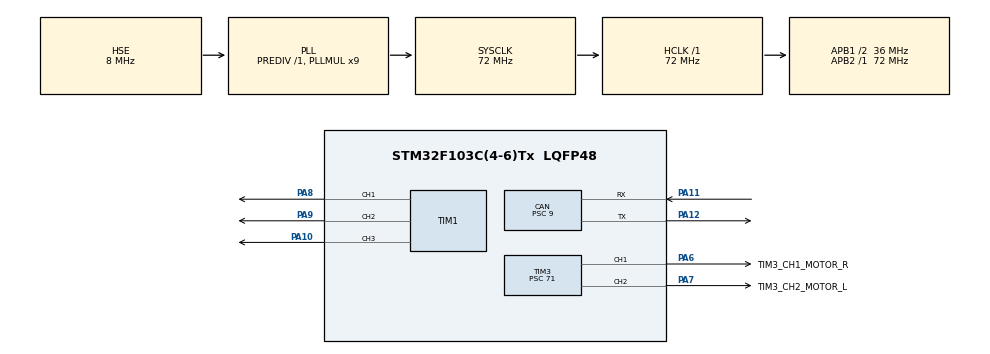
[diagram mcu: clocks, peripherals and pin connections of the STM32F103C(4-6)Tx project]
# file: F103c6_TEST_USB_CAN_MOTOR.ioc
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CAN.BS1=CAN_BS1_2TQ
CAN.CalculateBaudRate=1000000
CAN.CalculateTimeBit=1000
CAN.CalculateTimeQuantum=250.0
CAN.Prescaler=9
Mcu.Family=STM32F1
Mcu.Name=STM32F103C(4-6)Tx
Mcu.Package=LQFP48
NVIC.CAN1_RX1_IRQn=true\:0\:0\:false\:false\:true\:true\:true\:true
NVIC.PriorityGroup=NVIC_PRIORITYGROUP_4
NVIC.TIM2_IRQn=true\:0\:0\:false\:false\:true\:true\:true\:true
PA10.Signal=S_TIM1_CH3
PA11.Mode=CAN_Activate
PA11.Signal=CAN_RX
PA12.Mode=CAN_Activate
PA12.Signal=CAN_TX
PA13.Mode=Serial_Wire
PA13.Signal=SYS_JTMS-SWDIO
PA14.Mode=Serial_Wire
PA14.Signal=SYS_JTCK-SWCLK
PA6.GPIO_Label=TIM3_CH1_MOTOR_R
PA6.Signal=S_TIM3_CH1
PA7.GPIO_Label=TIM3_CH2_MOTOR_L
PA7.Signal=S_TIM3_CH2
PA8.Signal=S_TIM1_CH1
PA9.Signal=S_TIM1_CH2
PD0-OSC_IN.Mode=HSE-External-Oscillator
PD0-OSC_IN.Signal=RCC_OSC_IN
PD1-OSC_OUT.Mode=HSE-External-Oscillator
PD1-OSC_OUT.Signal=RCC_OSC_OUT
ProjectManager.HeapSize=0x200
ProjectManager.StackSize=0x400
ProjectManager.TargetToolchain=STM32CubeIDE
RCC.AHBFreq_Value=72000000
RCC.APB1CLKDivider=RCC_HCLK_DIV2
RCC.APB1Freq_Value=36000000
RCC.APB1TimFreq_Value=72000000
RCC.APB2Freq_Value=72000000
RCC.APB2TimFreq_Value=72000000
RCC.HCLKFreq_Value=72000000
RCC.PLLMUL=RCC_PLL_MUL9
RCC.PLLSourceVirtual=RCC_PLLSOURCE_HSE
RCC.SYSCLKFreq_VALUE=72000000
RCC.SYSCLKSource=RCC_SYSCLKSOURCE_PLLCLK
RCC.USBFreq_Value=72000000
SH.S_TIM1_CH1.0=TIM1_CH1,PWM Generation1 CH1
SH.S_TIM1_CH2.0=TIM1_CH2,PWM Generation2 CH2
SH.S_TIM1_CH3.0=TIM1_CH3,PWM Generation3 CH3
SH.S_TIM3_CH1.0=TIM3_CH1,PWM Generation1 CH1
SH.S_TIM3_CH2.0=TIM3_CH2,PWM Generation2 CH2
TIM1.AutoReloadPreload=TIM_AUTORELOAD_PRELOAD_ENABLE
TIM1.Channel-PWM\ Generation1\ CH1=TIM_CHANNEL_1
TIM1.Channel-PWM\ Generation2\ CH2=TIM_CHANNEL_2
TIM1.Channel-PWM\ Generation3\ CH3=TIM_CHANNEL_3
TIM2.Period=999
TIM2.Prescaler=71
TIM3.Channel-PWM\ Generation1\ CH1=TIM_CHANNEL_1
TIM3.Channel-PWM\ Generation2\ CH2=TIM_CHANNEL_2
TIM3.Period=999
TIM3.Prescaler=71
VP_TIM2_VS_ClockSourceINT.Mode=Internal
VP_TIM3_VS_ClockSourceINT.Mode=Internal
board=custom

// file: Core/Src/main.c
/* USER CODE BEGIN Header */
/**
  ******************************************************************************
  * @file           : main.c
  * @brief          : Main program body
  ******************************************************************************
  * @attention
  *
  * <h2><center>&copy; Copyright (c) 2023 STMicroelectronics.
  * All rights reserved.</center></h2>
  *
  * This software component is licensed by ST under BSD 3-Clause license,
  * the "License"; You may not use this file except in compliance with the
  * License. You may obtain a copy of the License at:
  *                        opensource.org/licenses/BSD-3-Clause
  *
  ******************************************************************************
  */
/* USER CODE END Header */
#include "main.h"
#include "can.h"
#include "tim.h"
#include "gpio.h"

/* USER CODE BEGIN PV */

	/* CAN */

		CAN_RxHeaderTypeDef RxHeader;
		uint8_t RxData[8];
		CAN_TxHeaderTypeDef TxHeader;
		uint8_t TxData[8];
		uint32_t TxMailbox;
		uint16_t ReadValue;

		int datacheck = 0;
		float pwm_M1 = 0;
		float pwm_M2 = 0;

		float RxData1 = 0;
		float RxData2 = 0;
		float RxData3 = 0;
		float RxData4 = 0;

	/* TAGET SPEED OF RGB */

		float V1 = 0;
		float V2 = 0;
		float V3 = 0;
		float V4 = 0;

	/* TAGET SPEED OF MOTOR */

		float M1 ;
		float M2 ;
		float M3;
		float M4 ;

	/* V OUT RGB */

		uint16_t V=255;
		uint16_t V1_out = 0;
		uint16_t V2_out = 0;
		uint16_t V3_out = 0;
		uint16_t V4_out = 0;

	/* M OUT MOTOR */

		uint16_t M=255;
		uint16_t M1_out = 0;
		uint16_t M2_out = 0;
		uint16_t M3_out = 0;
		uint16_t M4_out = 0;

		uint8_t flag = 0;
		uint8_t cntt;

/* USER CODE END PV */

void SystemClock_Config(void);
/* USER CODE BEGIN PFP */

/* MAP */

	float map(float Input, float Min_Input, float Max_Input, float Min_Output, float Max_Output) {
		return (float) ((Input - Min_Input) * (Max_Output - Min_Output) / (Max_Input - Min_Input) + Min_Output);
	}

/* STM32 INTERUPP RECEIVER FROM USB CAN */

	void HAL_CAN_RxFifo1MsgPendingCallback(CAN_HandleTypeDef *hcan) {
		HAL_CAN_GetRxMessage(hcan, CAN_RX_FIFO1, &RxHeader, RxData);
		cntt++;
		while (cntt - 100 > 0) {
			HAL_GPIO_TogglePin(GPIOC, GPIO_PIN_13);
			cntt = 0;
		}

	/* DATA RECIEVER FROM USB CAN */

		if (RxHeader.DLC == 8) {
		RxData1 = (RxData[0] << 8) | RxData[1];
		RxData2 = (RxData[2] << 8) | RxData[3];
		RxData3 = (RxData[4] << 8) | RxData[5];
		RxData4 = (RxData[6] << 8) | RxData[7];

	/* TRANFER TO SPEED */

		/* V RGB */

			V1 = RxData1;
			V2 = RxData2;
			V3 = RxData3;
			V4 = RxData4;

		/* M MOTOR */

			M1 = RxData1;
			M2 = RxData2;
			M3 = RxData3;
			M4 = RxData4;

			/* MAP TX DATA FROM 8BIT TO 16BIT (MOTOR ) */

				/* MAPPING MOTOR */

					M1_out = map(M1,0,65535,0,999);
					M2_out = map(M2,0,65535,0,999);

				/* MAPPING RGB ) */

					M3_out = map(M3,0,65535,0,65535);
					M4_out = map(M4,0,65535,0,65535);

					flag = 1;

	}
}

/* USER CODE END PFP */

int main(void)
{

  /* MCU Configuration--------------------------------------------------------*/

  /* Reset of all peripherals, Initializes the Flash interface and the Systick. */
  HAL_Init();

  /* Configure the system clock */
  SystemClock_Config();

  /* Initialize all configured peripherals */
  MX_GPIO_Init();
  MX_TIM3_Init();
  MX_TIM2_Init();
  MX_CAN_Init();
  MX_TIM1_Init();
  /* USER CODE BEGIN 2 */

  	/* CAN */

		HAL_CAN_Start(&hcan);

	/* STRUCTUR TRANSMITTER DATA */

		HAL_CAN_ActivateNotification(&hcan, CAN_IT_RX_FIFO1_MSG_PENDING);
		TxHeader.DLC = 8;
		TxHeader.IDE = CAN_ID_STD;
		TxHeader.RTR = CAN_RTR_DATA;
		TxHeader.StdId = 0x103; //0b11001010001

	/* TIMER RGB */

		HAL_TIM_Base_Start_IT(&htim2);
		HAL_TIM_PWM_Start(&htim1, TIM_CHANNEL_1);
		HAL_TIM_PWM_Start(&htim1, TIM_CHANNEL_2);
		HAL_TIM_PWM_Start(&htim1, TIM_CHANNEL_3);

	/* TIMER 3 MOTOR */

		HAL_TIM_PWM_Start(&htim3, TIM_CHANNEL_1);
		HAL_TIM_PWM_Start(&htim3, TIM_CHANNEL_2);
		HAL_TIM_PWM_Start(&htim3, TIM_CHANNEL_3);
		HAL_TIM_PWM_Start(&htim3, TIM_CHANNEL_4);

	/* MAP TX DATA FROM 8BIT TO 16BIT (RGB) */

		V1_out = map(V,0,255,0,65535);
		V2_out = map(V,0,255,0,65535);
		V3_out = map(V,0,255,0,65535);
		V4_out = map(V,0,255,0,65535);

  /* USER CODE END 2 */

  /* Infinite loop */
  while (1)
  {

  }
}

void SystemClock_Config(void)
{
  RCC_OscInitTypeDef RCC_OscInitStruct = {0};
  RCC_ClkInitTypeDef RCC_ClkInitStruct = {0};

  /** Initializes the RCC Oscillators according to the specified parameters
  * in the RCC_OscInitTypeDef structure.
  */
  RCC_OscInitStruct.OscillatorType = RCC_OSCILLATORTYPE_HSE;
  RCC_OscInitStruct.HSEState = RCC_HSE_ON;
  RCC_OscInitStruct.HSEPredivValue = RCC_HSE_PREDIV_DIV1;
  RCC_OscInitStruct.HSIState = RCC_HSI_ON;
  RCC_OscInitStruct.PLL.PLLState = RCC_PLL_ON;
  RCC_OscInitStruct.PLL.PLLSource = RCC_PLLSOURCE_HSE;
  RCC_OscInitStruct.PLL.PLLMUL = RCC_PLL_MUL9;
  if (HAL_RCC_OscConfig(&RCC_OscInitStruct) != HAL_OK)
  {
    Error_Handler();
  }
  /** Initializes the CPU, AHB and APB buses clocks
  */
  RCC_ClkInitStruct.ClockType = RCC_CLOCKTYPE_HCLK|RCC_CLOCKTYPE_SYSCLK
                              |RCC_CLOCKTYPE_PCLK1|RCC_CLOCKTYPE_PCLK2;
  RCC_ClkInitStruct.SYSCLKSource = RCC_SYSCLKSOURCE_PLLCLK;
  RCC_ClkInitStruct.AHBCLKDivider = RCC_SYSCLK_DIV1;
  RCC_ClkInitStruct.APB1CLKDivider = RCC_HCLK_DIV2;
  RCC_ClkInitStruct.APB2CLKDivider = RCC_HCLK_DIV1;

  if (HAL_RCC_ClockConfig(&RCC_ClkInitStruct, FLASH_LATENCY_2) != HAL_OK)
  {
    Error_Handler();
  }
}

/* USER CODE BEGIN 4 */

	/* MAKER TIMER INTERRUPP 1mS */

		void HAL_TIM_PeriodElapsedCallback(TIM_HandleTypeDef *htim) {
			if (htim->Instance == TIM2) {

				TIM3->CCR1 = M1_out; // PWM MOTOR
				TIM3->CCR2 = M2_out; // PWM MOTOR
				TIM1->CCR2 = M3_out; // PWM BLINK LED
				TIM1->CCR3 = M4_out; // PWM BLINK LED

			/* TX DATA SEND TO PC MAP 16BIT TO 8BIT COZ DATA CAN 1DATA=8BIT */

				TxData[0] = ((V1_out & 0xFF00) >> 8);
				TxData[1] = (V1_out & 0x00FF);
				TxData[2] = ((V2_out & 0xFF00) >> 8);
				TxData[3] = (V2_out & 0x00FF);
				TxData[4] = ((V3_out & 0xFF00) >> 8);
				TxData[5] = (V3_out & 0x00FF);
				TxData[6] = ((V4_out & 0xFF00) >> 8);
				TxData[7] = (V4_out & 0x00FF);

				if (flag ==1) {
					HAL_CAN_AddTxMessage(&hcan, &TxHeader, TxData, &TxMailbox);
					flag=0;

				}
			}
		}

/* USER CODE END 4 */

void Error_Handler(void)
{
  __disable_irq();
  while (1)
  {
  }
}

/************************ (C) COPYRIGHT STMicroelectronics *****END OF FILE****/
